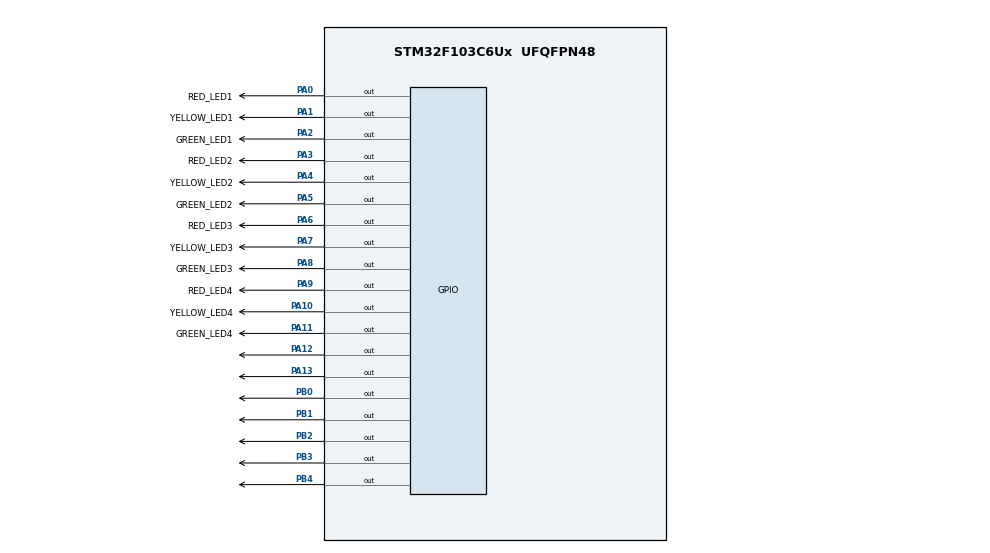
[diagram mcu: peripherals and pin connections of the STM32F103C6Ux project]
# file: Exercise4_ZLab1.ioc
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Mcu.Family=STM32F1
Mcu.Name=STM32F103C6Ux
Mcu.Package=UFQFPN48
NVIC.PriorityGroup=NVIC_PRIORITYGROUP_4
PA0-WKUP.GPIO_Label=RED_LED1
PA0-WKUP.Signal=GPIO_Output
PA1.GPIO_Label=YELLOW_LED1
PA1.Signal=GPIO_Output
PA10.GPIO_Label=YELLOW_LED4
PA10.Signal=GPIO_Output
PA11.GPIO_Label=GREEN_LED4
PA11.Signal=GPIO_Output
PA12.Signal=GPIO_Output
PA13.Signal=GPIO_Output
PA2.GPIO_Label=GREEN_LED1
PA2.Signal=GPIO_Output
PA3.GPIO_Label=RED_LED2
PA3.Signal=GPIO_Output
PA4.GPIO_Label=YELLOW_LED2
PA4.Signal=GPIO_Output
PA5.GPIO_Label=GREEN_LED2
PA5.Signal=GPIO_Output
PA6.GPIO_Label=RED_LED3
PA6.Signal=GPIO_Output
PA7.GPIO_Label=YELLOW_LED3
PA7.Signal=GPIO_Output
PA8.GPIO_Label=GREEN_LED3
PA8.Signal=GPIO_Output
PA9.GPIO_Label=RED_LED4
PA9.Signal=GPIO_Output
PB0.Signal=GPIO_Output
PB1.Signal=GPIO_Output
PB2.Signal=GPIO_Output
PB3.Signal=GPIO_Output
PB4.Signal=GPIO_Output
ProjectManager.HeapSize=0x200
ProjectManager.StackSize=0x400
ProjectManager.TargetToolchain=STM32CubeIDE
RCC.APB1Freq_Value=8000000
RCC.APB2Freq_Value=8000000
VP_SYS_VS_ND.Mode=No_Debug
board=custom

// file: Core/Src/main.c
/* USER CODE BEGIN Header */
/**
  ******************************************************************************
  * @file           : main.c
  * @brief          : Main program body
  ******************************************************************************
  * @attention
  *
  * <h2><center>&copy; Copyright (c) 2025 STMicroelectronics.
  * All rights reserved.</center></h2>
  *
  * This software component is licensed by ST under BSD 3-Clause license,
  * the "License"; You may not use this file except in compliance with the
  * License. You may obtain a copy of the License at:
  *                        opensource.org/licenses/BSD-3-Clause
  *
  ******************************************************************************
  */
/* USER CODE END Header */
#include "main.h"

void SystemClock_Config(void);
static void MX_GPIO_Init(void);

int main(void)
{

  /* MCU Configuration--------------------------------------------------------*/

  /* Reset of all peripherals, Initializes the Flash interface and the Systick. */
  HAL_Init();

  /* Configure the system clock */
  SystemClock_Config();

  /* Initialize all configured peripherals */
  MX_GPIO_Init();

  /* Infinite loop */
  /* USER CODE BEGIN WHILE */
  typedef struct {
        int RED_STATE;
        int YELLOW_STATE;
        int GREEN_STATE;
        int counter;
        GPIO_TypeDef* RED_Port;
        uint16_t RED_Pin;
        GPIO_TypeDef* YELLOW_Port;
        uint16_t YELLOW_Pin;
        GPIO_TypeDef* GREEN_Port;
        uint16_t GREEN_Pin;
    } TrafficLight;
    void updateIntersection(TrafficLight* NS1, TrafficLight* NS2,
                            TrafficLight* EW1, TrafficLight* EW2, int* counter) {
        int t = *counter;

        if (t < 3) {
            NS1->RED_STATE = 0; NS1->YELLOW_STATE = 0; NS1->GREEN_STATE = 1;
            NS2->RED_STATE = 0; NS2->YELLOW_STATE = 0; NS2->GREEN_STATE = 1;

            EW1->RED_STATE = 1; EW1->YELLOW_STATE = 0; EW1->GREEN_STATE = 0;
            EW2->RED_STATE = 1; EW2->YELLOW_STATE = 0; EW2->GREEN_STATE = 0;
        }

        else if (t < 5) {
            NS1->RED_STATE = 0; NS1->YELLOW_STATE = 1; NS1->GREEN_STATE = 0;
            NS2->RED_STATE = 0; NS2->YELLOW_STATE = 1; NS2->GREEN_STATE = 0;

            EW1->RED_STATE = 1; EW1->YELLOW_STATE = 0; EW1->GREEN_STATE = 0;
            EW2->RED_STATE = 1; EW2->YELLOW_STATE = 0; EW2->GREEN_STATE = 0;
        }

        else if (t < 8) {
            NS1->RED_STATE = 1; NS1->YELLOW_STATE = 0; NS1->GREEN_STATE = 0;
            NS2->RED_STATE = 1; NS2->YELLOW_STATE = 0; NS2->GREEN_STATE = 0;

            EW1->RED_STATE = 0; EW1->YELLOW_STATE = 0; EW1->GREEN_STATE = 1;
            EW2->RED_STATE = 0; EW2->YELLOW_STATE = 0; EW2->GREEN_STATE = 1;
        }

        else {
            NS1->RED_STATE = 1; NS1->YELLOW_STATE = 0; NS1->GREEN_STATE = 0;
            NS2->RED_STATE = 1; NS2->YELLOW_STATE = 0; NS2->GREEN_STATE = 0;

            EW1->RED_STATE = 0; EW1->YELLOW_STATE = 1; EW1->GREEN_STATE = 0;
            EW2->RED_STATE = 0; EW2->YELLOW_STATE = 1; EW2->GREEN_STATE = 0;
        }

        (*counter)++;
        if (*counter >= 10) *counter = 0;
    }

    void applyTrafficLight(TrafficLight* light) {
        HAL_GPIO_WritePin(light->RED_Port, light->RED_Pin,
                          light->RED_STATE ? GPIO_PIN_RESET : GPIO_PIN_SET);
        HAL_GPIO_WritePin(light->YELLOW_Port, light->YELLOW_Pin,
                          light->YELLOW_STATE ? GPIO_PIN_RESET : GPIO_PIN_SET);
        HAL_GPIO_WritePin(light->GREEN_Port, light->GREEN_Pin,
                          light->GREEN_STATE ? GPIO_PIN_RESET : GPIO_PIN_SET);
    }
    uint8_t led7seg[10] = {
        0xC0, // 0
        0xF9, // 1
        0xA4, // 2
        0xB0, // 3
        0x99, // 4
        0x92, // 5
        0x82, // 6
        0xF8, // 7
        0x80, // 8
        0x90  // 9
    };

    void display7SEG(int num) {
        if (num < 0 || num > 9) return;
        uint8_t pattern = led7seg[num];

        HAL_GPIO_WritePin(LED_a_GPIO_Port, LED_a_Pin, (pattern >> 0) & 0x01);
        HAL_GPIO_WritePin(LED_b_GPIO_Port, LED_b_Pin, (pattern >> 1) & 0x01);
        HAL_GPIO_WritePin(LED_c_GPIO_Port, LED_c_Pin, (pattern >> 2) & 0x01);
        HAL_GPIO_WritePin(LED_d_GPIO_Port, LED_d_Pin, (pattern >> 3) & 0x01);
        HAL_GPIO_WritePin(LED_e_GPIO_Port, LED_e_Pin, (pattern >> 4) & 0x01);
        HAL_GPIO_WritePin(LED_f_GPIO_Port, LED_f_Pin, (pattern >> 5) & 0x01);
        HAL_GPIO_WritePin(LED_g_GPIO_Port, LED_g_Pin, (pattern >> 6) & 0x01);
    }

    TrafficLight TL1 = {1,0,0,0, RED_LED1_GPIO_Port, RED_LED1_Pin,
  		  YELLOW_LED1_GPIO_Port, YELLOW_LED1_Pin,
  		  GREEN_LED1_GPIO_Port, GREEN_LED1_Pin};

    TrafficLight TL2 = {1,0,0,0, RED_LED2_GPIO_Port, RED_LED2_Pin,
   		  YELLOW_LED2_GPIO_Port, YELLOW_LED2_Pin,
   		  GREEN_LED2_GPIO_Port, GREEN_LED2_Pin};

    TrafficLight TL3 = {1,0,0,0, RED_LED3_GPIO_Port, RED_LED3_Pin,
   		  YELLOW_LED3_GPIO_Port, YELLOW_LED3_Pin,
   		  GREEN_LED3_GPIO_Port, GREEN_LED3_Pin};

    TrafficLight TL4 = {1,0,0,0, RED_LED4_GPIO_Port, RED_LED4_Pin,
   		  YELLOW_LED4_GPIO_Port, YELLOW_LED4_Pin,
   		  GREEN_LED4_GPIO_Port, GREEN_LED4_Pin};

    int counter =0;
    while (1)
    {
      /* USER CODE END WHILE */
  	  updateIntersection(&TL1, &TL3, &TL2, &TL4, &counter);
  	  applyTrafficLight(&TL1);
  	  applyTrafficLight(&TL2);
  	  applyTrafficLight(&TL3);
  	  applyTrafficLight(&TL4);
  	  display7SEG(counter);
  	  HAL_Delay(1000);
    }
  }

void SystemClock_Config(void)
{
  RCC_OscInitTypeDef RCC_OscInitStruct = {0};
  RCC_ClkInitTypeDef RCC_ClkInitStruct = {0};

  /** Initializes the RCC Oscillators according to the specified parameters
  * in the RCC_OscInitTypeDef structure.
  */
  RCC_OscInitStruct.OscillatorType = RCC_OSCILLATORTYPE_HSI;
  RCC_OscInitStruct.HSIState = RCC_HSI_ON;
  RCC_OscInitStruct.HSICalibrationValue = RCC_HSICALIBRATION_DEFAULT;
  RCC_OscInitStruct.PLL.PLLState = RCC_PLL_NONE;
  if (HAL_RCC_OscConfig(&RCC_OscInitStruct) != HAL_OK)
  {
    Error_Handler();
  }
  /** Initializes the CPU, AHB and APB buses clocks
  */
  RCC_ClkInitStruct.ClockType = RCC_CLOCKTYPE_HCLK|RCC_CLOCKTYPE_SYSCLK
                              |RCC_CLOCKTYPE_PCLK1|RCC_CLOCKTYPE_PCLK2;
  RCC_ClkInitStruct.SYSCLKSource = RCC_SYSCLKSOURCE_HSI;
  RCC_ClkInitStruct.AHBCLKDivider = RCC_SYSCLK_DIV1;
  RCC_ClkInitStruct.APB1CLKDivider = RCC_HCLK_DIV1;
  RCC_ClkInitStruct.APB2CLKDivider = RCC_HCLK_DIV1;

  if (HAL_RCC_ClockConfig(&RCC_ClkInitStruct, FLASH_LATENCY_0) != HAL_OK)
  {
    Error_Handler();
  }
}

static void MX_GPIO_Init(void)
{
  GPIO_InitTypeDef GPIO_InitStruct = {0};

  /* GPIO Ports Clock Enable */
  __HAL_RCC_GPIOA_CLK_ENABLE();
  __HAL_RCC_GPIOB_CLK_ENABLE();

  /*Configure GPIO pin Output Level */
  HAL_GPIO_WritePin(GPIOA, RED_LED1_Pin|YELLOW_LED1_Pin|GREEN_LED1_Pin|RED_LED2_Pin
                          |YELLOW_LED2_Pin|GREEN_LED2_Pin|RED_LED3_Pin|YELLOW_LED3_Pin
                          |GREEN_LED3_Pin|RED_LED4_Pin|YELLOW_LED4_Pin|GREEN_LED4_Pin
                          |GPIO_PIN_12|GPIO_PIN_13, GPIO_PIN_RESET);

  /*Configure GPIO pin Output Level */
  HAL_GPIO_WritePin(GPIOB, GPIO_PIN_0|GPIO_PIN_1|GPIO_PIN_2|GPIO_PIN_3
                          |GPIO_PIN_4, GPIO_PIN_RESET);

  /*Configure GPIO pins : RED_LED1_Pin YELLOW_LED1_Pin GREEN_LED1_Pin RED_LED2_Pin
                           YELLOW_LED2_Pin GREEN_LED2_Pin RED_LED3_Pin YELLOW_LED3_Pin
                           GREEN_LED3_Pin RED_LED4_Pin YELLOW_LED4_Pin GREEN_LED4_Pin
                           PA12 PA13 */
  GPIO_InitStruct.Pin = RED_LED1_Pin|YELLOW_LED1_Pin|GREEN_LED1_Pin|RED_LED2_Pin
                          |YELLOW_LED2_Pin|GREEN_LED2_Pin|RED_LED3_Pin|YELLOW_LED3_Pin
                          |GREEN_LED3_Pin|RED_LED4_Pin|YELLOW_LED4_Pin|GREEN_LED4_Pin
                          |GPIO_PIN_12|GPIO_PIN_13;
  GPIO_InitStruct.Mode = GPIO_MODE_OUTPUT_PP;
  GPIO_InitStruct.Pull = GPIO_NOPULL;
  GPIO_InitStruct.Speed = GPIO_SPEED_FREQ_LOW;
  HAL_GPIO_Init(GPIOA, &GPIO_InitStruct);

  /*Configure GPIO pins : PB0 PB1 PB2 PB3
                           PB4 */
  GPIO_InitStruct.Pin = GPIO_PIN_0|GPIO_PIN_1|GPIO_PIN_2|GPIO_PIN_3
                          |GPIO_PIN_4;
  GPIO_InitStruct.Mode = GPIO_MODE_OUTPUT_PP;
  GPIO_InitStruct.Pull = GPIO_NOPULL;
  GPIO_InitStruct.Speed = GPIO_SPEED_FREQ_LOW;
  HAL_GPIO_Init(GPIOB, &GPIO_InitStruct);

}

void Error_Handler(void)
{
  __disable_irq();
  while (1)
  {
  }
}

/************************ (C) COPYRIGHT STMicroelectronics *****END OF FILE****/
